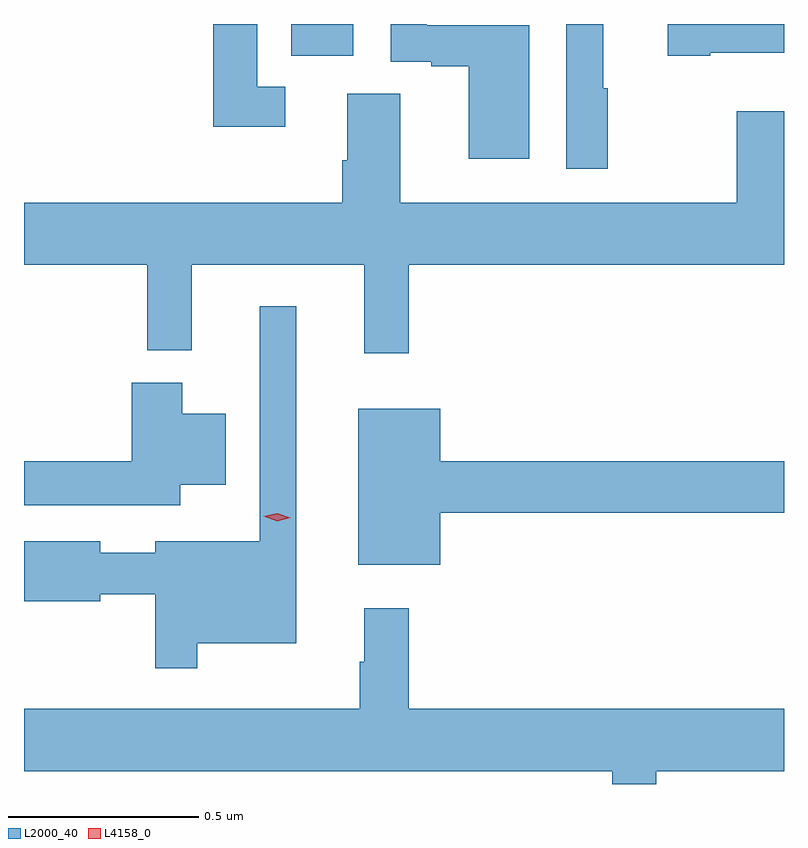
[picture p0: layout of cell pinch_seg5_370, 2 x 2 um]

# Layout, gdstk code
import gdstk
lib = gdstk.Library(unit=1e-6, precision=1e-09)
def R(c, l, rs):  # rectangles x0, y0, x1, y1
    for r in rs: c.add(gdstk.rectangle(r[:2], r[2:], *l))
def P(c, l, *ps):  # polygons
    for p in ps: c.add(gdstk.Polygon(p, *l))
L2000_40 = (2000, 40)
L4158_0 = (4158, 0)

pinch_seg5_370 = lib.new_cell('pinch_seg5_370')
R(pinch_seg5_370, L2000_40, [(1001.594,894.606,1001.758,894.69)])
P(pinch_seg5_370, L2000_40, [(1001.578,894.525),(1001.505,894.525),(1001.505,894.69),(1001.389,894.69),(1001.389,894.42),(1001.578,894.42)],
  [(1002.427,894.521),(1002.415,894.521),(1002.415,894.69),(1002.318,894.69),(1002.318,894.309),(1002.427,894.309)],
  [(1002.22,894.687),(1001.951,894.687),(1001.951,894.69),(1001.856,894.69),(1001.856,894.591),(1001.963,894.591),(1001.963,894.579),(1002.062,894.579),(1002.062,894.336),(1002.22,894.336)],
  [(1002.697,894.614),(1002.891,894.614),(1002.891,894.69),(1002.585,894.69),(1002.585,894.607),(1002.697,894.607)],
  [(1002.891,894.46),(1002.766,894.46),(1002.766,894.22),(1001.881,894.22),(1001.881,894.506),(1001.741,894.506),(1001.741,894.332),(1001.729,894.332),(1001.729,894.22),(1000.891,894.22),(1000.891,894.056),(1001.215,894.056),(1001.215,893.831),(1001.333,893.831),(1001.333,894.056),(1001.786,894.056),(1001.786,893.823),(1001.903,893.823),(1001.903,894.056),(1002.891,894.056)],
  [(1001.347,893.06),(1001.608,893.06),(1001.608,893.947),(1001.511,893.947),(1001.511,893.329),(1001.237,893.329),(1001.237,893.298),(1001.092,893.298),(1001.092,893.329),(1000.891,893.329),(1000.891,893.171),(1001.092,893.171),(1001.092,893.19),(1001.237,893.19),(1001.237,892.995),(1001.347,892.995)],
  [(1001.302,893.477),(1001.422,893.477),(1001.422,893.665),(1001.308,893.665),(1001.308,893.746),(1001.174,893.746),(1001.174,893.54),(1000.891,893.54),(1000.891,893.424),(1001.302,893.424)],
  [(1001.986,893.404),(1002.891,893.404),(1002.891,893.54),(1001.986,893.54),(1001.986,893.677),(1001.771,893.677),(1001.771,893.267),(1001.986,893.267)],
  [(1002.555,892.724),(1002.891,892.724),(1002.891,892.888),(1001.903,892.888),(1001.903,893.152),(1001.786,893.152),(1001.786,893.012),(1001.775,893.012),(1001.775,892.888),(1000.891,892.888),(1000.891,892.724),(1002.439,892.724),(1002.439,892.69),(1002.555,892.69)])
P(pinch_seg5_370, L4158_0, [(1001.557,893.382),(1001.522,893.394),(1001.521,893.394),(1001.522,893.394),(1001.557,893.402),(1001.592,893.391),(1001.593,893.391),(1001.592,893.391)])

lib.write_gds('pinch_seg5_370.gds')
